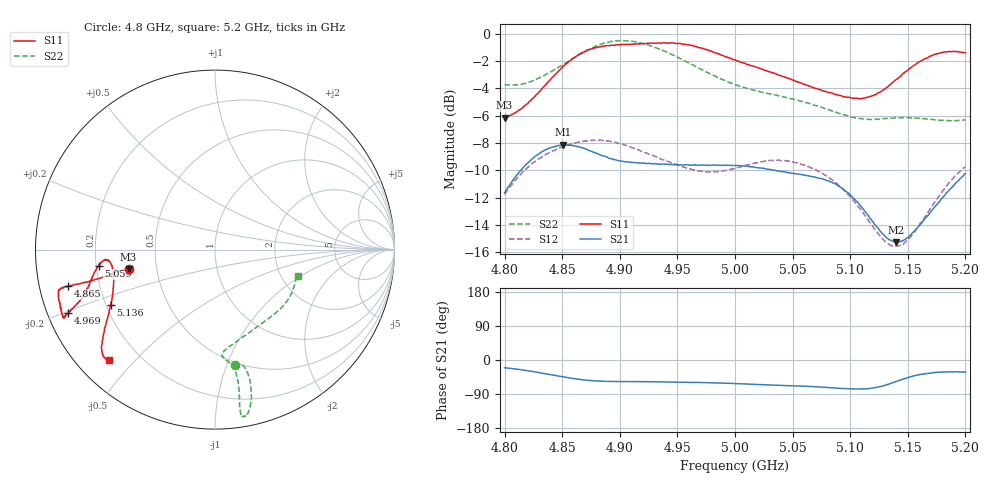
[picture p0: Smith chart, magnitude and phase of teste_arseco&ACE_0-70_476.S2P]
! Network Analyzer HP8722D
! Hewlett-Packard
! Data name: Linha & Wilkinson
! Saver's name: Rodrigo Anjos
! Comments: Teste da utilização de aquisição
! continua pelo VNA HP8722D
! Time and date: 8/5/2025 16:43
!  Frequency  S11  S21  S12  S22
# HZ  S  MA R 50
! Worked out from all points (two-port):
!   401 points, 4.8 GHz to 5.2 GHz, reference 50 ohm
!   highest |S21| = -8.13 dB at 4.851 GHz (marker M1); lowest = -15.2 dB at 5.14 GHz (marker M2)
!   |S21| within 3 dB of the highest: 4.804 GHz to 5.09 GHz (286 MHz wide, 5.78 % of centre); 5.189541 GHz to end of sweep
!   lowest |S11| = -6.1 dB at 4.8 GHz (marker M3), VSWR 2.95, Z = 17.1 - j4.89 ohm
!   |S11| at or under -10 dB: nowhere
!   |S22| runs from -6.4 to -0.5 dB; largest |S21 - S12| = 0.62
!   S11 on the Smith chart (normalised r, x): 4.8 GHz: 0.34, -0.10; 4.865 GHz: 0.09, -0.12; 4.969 GHz: 0.06, -0.21; 5.059 GHz: 0.21, -0.07; 5.136 GHz: 0.22, -0.24; 5.2 GHz: 0.09, -0.42
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4.8e9  0.4935 -167.4  0.262 -20.7  0.2587 -141.8  0.6515 -80.1
4.826e9  0.5891 -166.8  0.354 -31.3  0.3392 -146.1  0.6766 -75.9
4.851e9  0.7591 -165.8  0.3924 -44.9  0.3867 -150.4  0.773 -75.3
4.865e9  0.8426 -166.1  0.386 -51.1  0.4016 -152.7  0.839 -76.0
4.867e9  0.8493 -166.0  0.3833 -52.1  0.4031 -153.0  0.8484 -76.1
4.879e9  0.8897 -165.8  0.3656 -55.3  0.4075 -154.9  0.8999 -77.4
4.899e9  0.9123 -163.0  0.3431 -57.0  0.397 -157.2  0.9435 -79.9
4.934e9  0.9264 -156.6  0.3331 -57.8  0.3517 -156.0  0.879 -81.0
4.969e9  0.8891 -156.7  0.3301 -59.3  0.3146 -147.6  0.7477 -80.2
5e9  0.8027 -159.5  0.33 -62.3  0.3222 -137.7  0.6514 -81.7
5.036e9  0.7131 -166.2  0.3154 -66.6  0.3443 -135.2  0.597 -86.0
5.059e9  0.6549 -172.0  0.3046 -69.1  0.3318 -137.1  0.5645 -84.5
5.067e9  0.6383 -173.6  0.3002 -70.0  0.3221 -137.8  0.5508 -82.6
5.083e9  0.6083 -174.5  0.2867 -73.2  0.2946 -139.3  0.5241 -76.5
5.101e9  0.5835 -171.4  0.2553 -76.4  0.2505 -139.4  0.4957 -65.7
5.114e9  0.5842 -165.4  0.2207 -75.8  0.2126 -136.0  0.4868 -56.5
5.134e9  0.6479 -153.2  0.1759 -63.3  0.1693 -118.6  0.4911 -42.8
5.136e9  0.6583 -152.1  0.175 -61.0  0.1675 -116.1  0.4913 -41.5
5.14e9  0.6801 -150.1  0.173 -56.7  0.1673 -110.7  0.4922 -39.4
5.152e9  0.7473 -144.8  0.1829 -44.7  0.1797 -95.7  0.4937 -33.1
5.172e9  0.8367 -139.0  0.2287 -33.5  0.2377 -81.0  0.4859 -24.5
5.2e9  0.8511 -133.8  0.3079 -32.0  0.3263 -77.6  0.4838 -17.7
